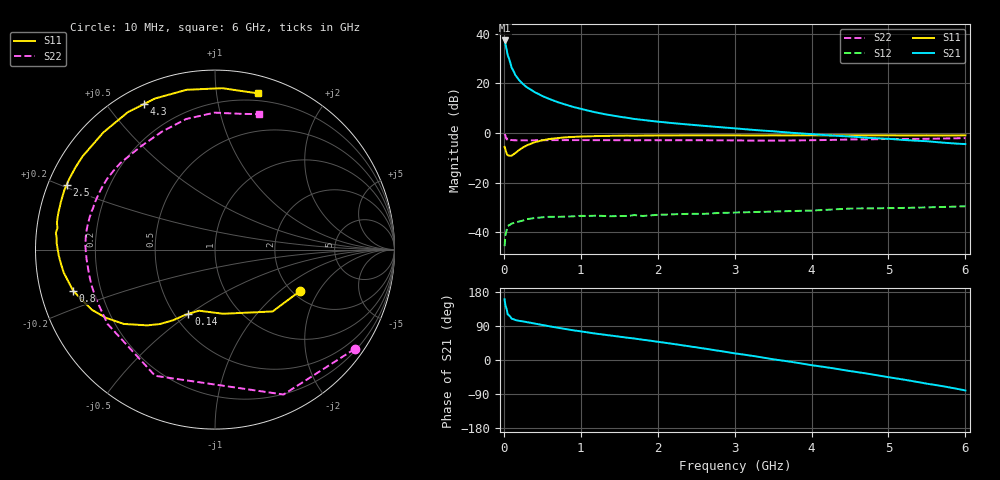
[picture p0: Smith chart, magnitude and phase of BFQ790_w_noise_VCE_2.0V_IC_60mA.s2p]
! Infineon Technologies  Discrete & RF Semiconductors
! BFQ790
! VCE =  2.0 V,  IC =  60 mA
! Common Emitter S-Parameters:  May 2015
# GHz  S  MA  R  50
!  f  S11  S21  S12  S22
! GHz  MAG  ANG  MAG  ANG  MAG  ANG  MAG  ANG
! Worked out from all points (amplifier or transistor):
!   77 points, 10 MHz to 6 GHz, reference 50 ohm
!   highest |S21| = 37.3 dB at 10 MHz (marker M1)
!   |S21| within 3 dB of that: start of sweep to 31.86 MHz
!   unconditionally stable (mu >= 1): 1.407 GHz to end of sweep
!   at 130 MHz: K = 0.68, MSG = 30.5 dB, |S12| = -36.2 dB
!   at 2.2 GHz: K = 1.16, MAG = 15.9 dB, |S12| = -32.7 dB
!   at 6 GHz: K = 1.49, MAG = 8.4 dB, |S12| = -29.4 dB
!   lowest NFmin = 2.33 dB at 1.5 GHz
!   S11 on the Smith chart (normalised r, x): 10 MHz: 2.20, -1.40; 140 MHz: 0.59, -0.49; 800 MHz: 0.10, -0.14; 2.5 GHz: 0.05, +0.21; 4.3 GHz: 0.07, +0.62; 6 GHz: 0.14, +1.31
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0.01  0.5278 -25.8  73.28 160.2  0.0053 67.9  0.956 -35.3
0.02  0.4711 -47.0  62.98 144.1  0.0088 53.0  0.8932 -64.7
0.05  0.3604 -82.7  37.31 120.5  0.0135 31.7  0.7783 -115.4
0.1  0.352 -104.7  20.96 109.1  0.015 20.3  0.728 -145.3
0.14  0.3874 -112.5  15.97 106.4  0.0157 19.3  0.7174 -154.9
0.15  0.3973 -114.2  14.73 105.5  0.0159 19.1  0.7179 -157.3
0.2  0.4589 -120.8  11.6 103.3  0.0166 19.1  0.7161 -163.8
0.25  0.516 -126.5  9.676 101.7  0.0174 15.6  0.715 -168.0
0.3  0.5672 -131.9  8.345 99.9  0.0186 13.4  0.7147 -171.1
0.4  0.6554 -140.8  6.687 96.1  0.0195 11.9  0.7174 -175.6
0.5  0.7161 -147.9  5.582 92.4  0.0202 8.9  0.7199 -179.0
0.7  0.7938 -159.5  4.204 85.1  0.0207 8.0  0.7225 176.1
0.8  0.8227 -163.8  3.758 81.8  0.0208 2.7  0.7234 174.3
1.1  0.8615 -174.6  2.822 72.5  0.0215 0.3  0.7227 169.3
1.5  0.8845 175.8  2.144 61.6  0.0215 -3.1  0.719 163.9
2.1  0.8972 164.5  1.643 45.4  0.0229 -5.9  0.7182 155.5
2.5  0.9019 156.3  1.444 33.5  0.0237 -10.6  0.7185 148.3
3.1  0.8995 142.6  1.211 14.8  0.0254 -17.7  0.7106 135.2
4.1  0.9039 120.3  0.93 -16.5  0.0281 -28.3  0.7229 111.9
4.3  0.9023 116.0  0.887 -22.5  0.0292 -31.0  0.7315 107.1
5.1  0.9 97.6  0.747 -48.5  0.031 -44.0  0.7622 88.1
6  0.9028 74.5  0.601 -80.3  0.0337 -60.7  0.7931 72.0
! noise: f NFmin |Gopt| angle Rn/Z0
0.45  3.2  0.34  120  0.36
0.9  2.39  0.48  159  0.14
1.5  2.33  0.63  -178  0.07
1.8  2.52  0.66  -172  0.07
2.6  3.11  0.72  -154  0.19
3.5  3.88  0.83  -137  0.49
